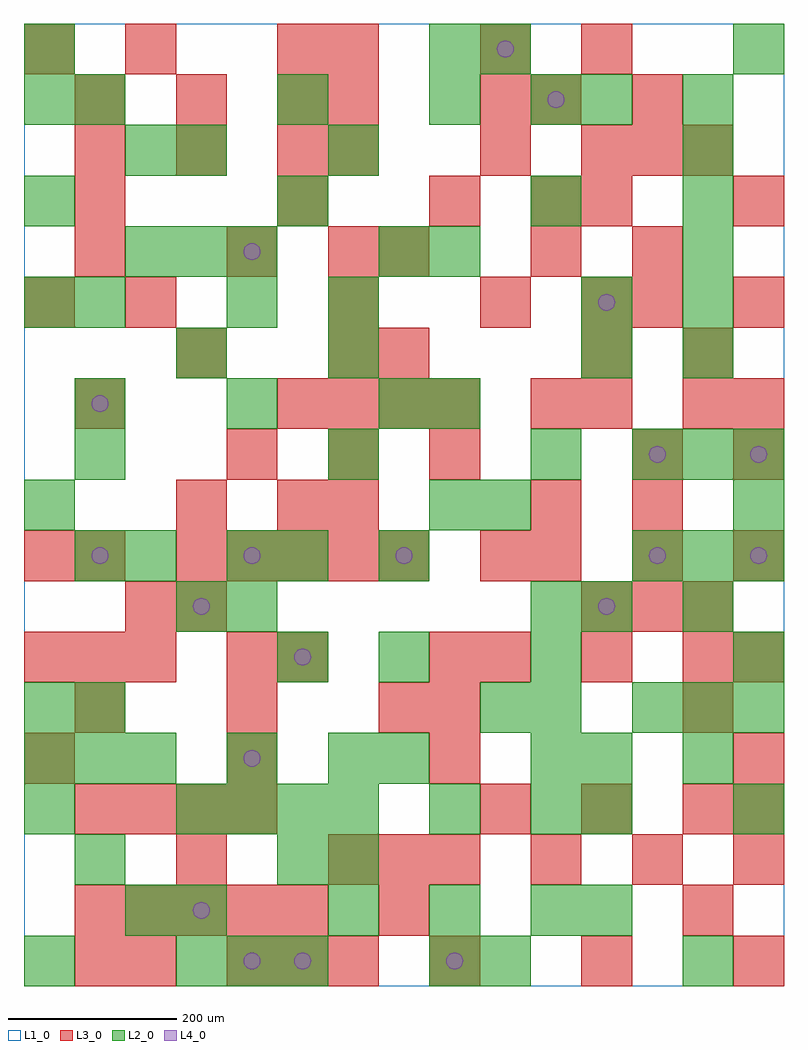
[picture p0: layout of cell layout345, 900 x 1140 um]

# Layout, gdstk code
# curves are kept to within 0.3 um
import gdstk
lib = gdstk.Library(unit=1e-6, precision=1e-09)
def R(c, l, rs):  # rectangles x0, y0, x1, y1
    for r in rs: c.add(gdstk.rectangle(r[:2], r[2:], *l))
def A(c, l, x, y, w, h, nx, ny, dx, dy):  # array of equal rectangles
    R(c, l, [(x+i*dx, y+j*dy, x+i*dx+w, y+j*dy+h) for i in range(nx) for j in range(ny)])
def P(c, l, *ps):  # polygons
    for p in ps: c.add(gdstk.Polygon(p, *l))
L1_0 = (1, 0)
L2_0 = (2, 0)
L3_0 = (3, 0)
L4_0 = (4, 0)

layout345 = lib.new_cell('layout345')
R(layout345, L1_0, [(0,0,900,1140)])
A(layout345, L2_0, 180, 0, 60, 60, 3, 1, 60, 0)
A(layout345, L2_0, 360, 60, 60, 60, 3, 1, 120, 0)
A(layout345, L2_0, 60, 120, 60, 60, 1, 3, 0, 180)
A(layout345, L2_0, 180, 180, 60, 60, 4, 1, 60, 0)
A(layout345, L2_0, 600, 180, 60, 60, 1, 5, 0, 60)
A(layout345, L2_0, 840, 180, 60, 60, 1, 3, 0, 180)
A(layout345, L2_0, 0, 240, 60, 60, 3, 1, 60, 0)
A(layout345, L2_0, 420, 240, 60, 60, 1, 3, 0, 120)
A(layout345, L2_0, 0, 300, 60, 60, 1, 4, 0, 240)
A(layout345, L2_0, 720, 300, 60, 60, 3, 2, 60, 180)
A(layout345, L2_0, 720, 600, 60, 60, 3, 1, 60, 0)
A(layout345, L2_0, 60, 660, 60, 60, 3, 1, 180, 0)
A(layout345, L2_0, 480, 660, 60, 60, 1, 3, 0, 180)
A(layout345, L2_0, 780, 720, 60, 60, 1, 6, 0, 60)
A(layout345, L2_0, 120, 840, 60, 60, 3, 1, 60, 0)
A(layout345, L2_0, 0, 900, 60, 60, 3, 1, 300, 0)
R(layout345, L2_0, [(0,0,60,60), (480,0,540,60), (540,0,600,60), (780,0,840,60), (120,60,180,120), (180,60,240,120), (660,60,720,120), (300,120,360,180), (360,120,420,180), (0,180,60,240), (480,180,540,240), (660,180,720,240), (240,240,300,300), (360,240,420,300), (660,240,720,300), (780,240,840,300), (540,300,600,360), (300,360,360,420), (180,420,240,480), (240,420,300,480), (660,420,720,480), (780,420,840,480), (120,480,180,540), (240,480,300,540), (300,480,360,540), (480,540,540,600), (540,540,600,600), (60,600,120,660), (360,600,420,660), (600,600,660,660), (180,720,240,780), (360,720,420,780), (660,720,720,780), (60,780,120,840), (240,780,300,840), (360,780,420,840), (660,780,720,840), (420,840,480,900), (120,960,180,1020), (180,960,240,1020), (360,960,420,1020), (60,1020,120,1080), (300,1020,360,1080), (600,1020,660,1080), (660,1020,720,1080), (0,1080,60,1140), (480,1080,540,1140), (540,1080,600,1140), (840,1080,900,1140)])
A(layout345, L3_0, 240, 0, 60, 60, 3, 1, 60, 0)
A(layout345, L3_0, 480, 0, 60, 60, 3, 1, 180, 0)
A(layout345, L3_0, 60, 60, 60, 60, 5, 1, 60, 0)
A(layout345, L3_0, 360, 120, 60, 60, 3, 1, 60, 0)
A(layout345, L3_0, 600, 120, 60, 60, 3, 2, 120, 360)
A(layout345, L3_0, 60, 180, 60, 60, 4, 1, 60, 0)
A(layout345, L3_0, 540, 180, 60, 60, 3, 2, 120, 180)
A(layout345, L3_0, 0, 240, 60, 60, 3, 1, 240, 0)
A(layout345, L3_0, 60, 300, 60, 60, 3, 1, 180, 0)
A(layout345, L3_0, 0, 360, 60, 60, 3, 1, 60, 0)
A(layout345, L3_0, 660, 420, 60, 60, 3, 2, 60, 540)
A(layout345, L3_0, 0, 480, 60, 60, 1, 3, 0, 300)
A(layout345, L3_0, 60, 480, 60, 60, 1, 3, 0, 180)
A(layout345, L3_0, 180, 480, 60, 60, 5, 1, 60, 0)
A(layout345, L3_0, 240, 600, 60, 60, 3, 1, 120, 0)
A(layout345, L3_0, 300, 660, 60, 60, 4, 1, 60, 0)
A(layout345, L3_0, 660, 660, 60, 60, 1, 3, 0, 60)
A(layout345, L3_0, 840, 660, 60, 60, 1, 3, 0, 120)
A(layout345, L3_0, 360, 720, 60, 60, 1, 3, 0, 60)
A(layout345, L3_0, 60, 960, 60, 60, 3, 2, 120, 60)
A(layout345, L3_0, 360, 960, 60, 60, 1, 3, 0, 60)
A(layout345, L3_0, 540, 960, 60, 60, 1, 3, 0, 60)
R(layout345, L3_0, [(60,0,120,60), (120,0,180,60), (420,60,480,120), (780,60,840,120), (180,120,240,180), (840,180,900,240), (840,240,900,300), (480,300,540,360), (780,300,840,360), (240,360,300,420), (300,360,360,420), (480,360,540,420), (840,360,900,420), (120,420,180,480), (180,420,240,480), (540,480,600,540), (180,540,240,600), (300,540,360,600), (360,540,420,600), (600,540,660,600), (720,540,780,600), (720,600,780,660), (840,600,900,660), (600,660,660,720), (780,660,840,720), (180,720,240,780), (420,720,480,780), (780,720,840,780), (120,780,180,840), (540,780,600,840), (720,780,780,840), (240,840,300,900), (420,840,480,900), (600,840,660,900), (720,840,780,900), (60,900,120,960), (300,900,360,960), (480,900,540,960), (600,900,660,960), (660,900,720,960), (600,1020,660,1080), (720,1020,780,1080), (120,1080,180,1140), (300,1080,360,1140), (660,1080,720,1140)])
P(layout345, L4_0, [(100,510),(99.239,513.827),(97.071,517.071),(93.827,519.239),(90,520),(86.173,519.239),(82.929,517.071),(80.761,513.827),(80,510),(80.761,506.173),(82.929,502.929),(86.173,500.761),(90,500),(93.827,500.761),(97.071,502.929),(99.239,506.173)],
  [(100,690),(99.239,693.827),(97.071,697.071),(93.827,699.239),(90,700),(86.173,699.239),(82.929,697.071),(80.761,693.827),(80,690),(80.761,686.173),(82.929,682.929),(86.173,680.761),(90,680),(93.827,680.761),(97.071,682.929),(99.239,686.173)],
  [(220,90),(219.239,93.827),(217.071,97.071),(213.827,99.239),(210,100),(206.173,99.239),(202.929,97.071),(200.761,93.827),(200,90),(200.761,86.173),(202.929,82.929),(206.173,80.761),(210,80),(213.827,80.761),(217.071,82.929),(219.239,86.173)],
  [(220,450),(219.239,453.827),(217.071,457.071),(213.827,459.239),(210,460),(206.173,459.239),(202.929,457.071),(200.761,453.827),(200,450),(200.761,446.173),(202.929,442.929),(206.173,440.761),(210,440),(213.827,440.761),(217.071,442.929),(219.239,446.173)],
  [(280,30),(279.239,33.827),(277.071,37.071),(273.827,39.239),(270,40),(266.173,39.239),(262.929,37.071),(260.761,33.827),(260,30),(260.761,26.173),(262.929,22.929),(266.173,20.761),(270,20),(273.827,20.761),(277.071,22.929),(279.239,26.173)],
  [(280,270),(279.239,273.827),(277.071,277.071),(273.827,279.239),(270,280),(266.173,279.239),(262.929,277.071),(260.761,273.827),(260,270),(260.761,266.173),(262.929,262.929),(266.173,260.761),(270,260),(273.827,260.761),(277.071,262.929),(279.239,266.173)],
  [(280,510),(279.239,513.827),(277.071,517.071),(273.827,519.239),(270,520),(266.173,519.239),(262.929,517.071),(260.761,513.827),(260,510),(260.761,506.173),(262.929,502.929),(266.173,500.761),(270,500),(273.827,500.761),(277.071,502.929),(279.239,506.173)],
  [(280,870),(279.239,873.827),(277.071,877.071),(273.827,879.239),(270,880),(266.173,879.239),(262.929,877.071),(260.761,873.827),(260,870),(260.761,866.173),(262.929,862.929),(266.173,860.761),(270,860),(273.827,860.761),(277.071,862.929),(279.239,866.173)],
  [(340,30),(339.239,33.827),(337.071,37.071),(333.827,39.239),(330,40),(326.173,39.239),(322.929,37.071),(320.761,33.827),(320,30),(320.761,26.173),(322.929,22.929),(326.173,20.761),(330,20),(333.827,20.761),(337.071,22.929),(339.239,26.173)],
  [(340,390),(339.239,393.827),(337.071,397.071),(333.827,399.239),(330,400),(326.173,399.239),(322.929,397.071),(320.761,393.827),(320,390),(320.761,386.173),(322.929,382.929),(326.173,380.761),(330,380),(333.827,380.761),(337.071,382.929),(339.239,386.173)],
  [(460,510),(459.239,513.827),(457.071,517.071),(453.827,519.239),(450,520),(446.173,519.239),(442.929,517.071),(440.761,513.827),(440,510),(440.761,506.173),(442.929,502.929),(446.173,500.761),(450,500),(453.827,500.761),(457.071,502.929),(459.239,506.173)],
  [(520,30),(519.239,33.827),(517.071,37.071),(513.827,39.239),(510,40),(506.173,39.239),(502.929,37.071),(500.761,33.827),(500,30),(500.761,26.173),(502.929,22.929),(506.173,20.761),(510,20),(513.827,20.761),(517.071,22.929),(519.239,26.173)],
  [(580,1110),(579.239,1113.827),(577.071,1117.071),(573.827,1119.239),(570,1120),(566.173,1119.239),(562.929,1117.071),(560.761,1113.827),(560,1110),(560.761,1106.173),(562.929,1102.929),(566.173,1100.761),(570,1100),(573.827,1100.761),(577.071,1102.929),(579.239,1106.173)],
  [(640,1050),(639.239,1053.827),(637.071,1057.071),(633.827,1059.239),(630,1060),(626.173,1059.239),(622.929,1057.071),(620.761,1053.827),(620,1050),(620.761,1046.173),(622.929,1042.929),(626.173,1040.761),(630,1040),(633.827,1040.761),(637.071,1042.929),(639.239,1046.173)],
  [(700,450),(699.239,453.827),(697.071,457.071),(693.827,459.239),(690,460),(686.173,459.239),(682.929,457.071),(680.761,453.827),(680,450),(680.761,446.173),(682.929,442.929),(686.173,440.761),(690,440),(693.827,440.761),(697.071,442.929),(699.239,446.173)],
  [(700,810),(699.239,813.827),(697.071,817.071),(693.827,819.239),(690,820),(686.173,819.239),(682.929,817.071),(680.761,813.827),(680,810),(680.761,806.173),(682.929,802.929),(686.173,800.761),(690,800),(693.827,800.761),(697.071,802.929),(699.239,806.173)],
  [(760,510),(759.239,513.827),(757.071,517.071),(753.827,519.239),(750,520),(746.173,519.239),(742.929,517.071),(740.761,513.827),(740,510),(740.761,506.173),(742.929,502.929),(746.173,500.761),(750,500),(753.827,500.761),(757.071,502.929),(759.239,506.173)],
  [(760,630),(759.239,633.827),(757.071,637.071),(753.827,639.239),(750,640),(746.173,639.239),(742.929,637.071),(740.761,633.827),(740,630),(740.761,626.173),(742.929,622.929),(746.173,620.761),(750,620),(753.827,620.761),(757.071,622.929),(759.239,626.173)],
  [(880,510),(879.239,513.827),(877.071,517.071),(873.827,519.239),(870,520),(866.173,519.239),(862.929,517.071),(860.761,513.827),(860,510),(860.761,506.173),(862.929,502.929),(866.173,500.761),(870,500),(873.827,500.761),(877.071,502.929),(879.239,506.173)],
  [(880,630),(879.239,633.827),(877.071,637.071),(873.827,639.239),(870,640),(866.173,639.239),(862.929,637.071),(860.761,633.827),(860,630),(860.761,626.173),(862.929,622.929),(866.173,620.761),(870,620),(873.827,620.761),(877.071,622.929),(879.239,626.173)])

lib.write_gds('layout345.gds')
